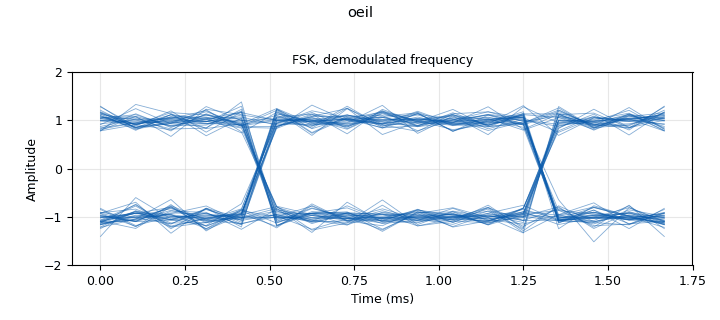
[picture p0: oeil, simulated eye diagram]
options:
  parameters:
    generate_options: qt_gui
    id: fg_tp13_002
    output_language: python
    title: FG-TP13-002
  states: {}

blocks:
- name: bit_rate
  id: variable
  parameters:
    value: '1200'
  states: {}
- name: ecart
  id: variable
  parameters:
    value: '1200'
  states: {}
- name: noise
  id: variable_qtgui_range
  parameters:
    gui_hint: 0,0,1,1
    label: '"Channel Noise"'
    start: '0'
    step: '0.01'
    stop: '0.5'
    value: '0.05'
  states: {}
- name: samp_rate
  id: variable
  parameters:
    value: bit_rate * sps
  states: {}
- name: sps
  id: variable
  parameters:
    value: '8'
  states: {}
- name: amplifier
  id: blocks_multiply_const_vxx
  parameters:
    const: '2'
    type: float
  states: {}
- name: bits
  id: analog_random_source_x
  parameters:
    max: '2'
    min: '0'
    num_samps: '1000'
    repeat: 'True'
    type: byte
  states: {}
- name: canal
  id: channels_channel_model
  parameters:
    epsilon: '1.0'
    freq_offset: '0'
    noise_voltage: noise
    seed: '0'
    taps: '[1.0 + 0.0j]'
  states: {}
- name: centrer
  id: blocks_add_const_vxx
  parameters:
    const: '-0.5'
    type: float
  states: {}
- name: debit_flux
  id: blocks_throttle2
  parameters:
    samples_per_second: samp_rate
    type: complex
  states: {}
- name: demoduler
  id: analog_quadrature_demod_cf
  parameters:
    gain: samp_rate/(2*math.pi*(ecart/2))
  states: {}
- name: en_flottant
  id: blocks_char_to_float
  parameters:
    scale: '1'
  states: {}
- name: etaler
  id: blocks_repeat
  parameters:
    interp: sps
    type: float
  states: {}
- name: importer_math
  id: import
  parameters:
    imports: import math
  states: {}
- name: moduler
  id: analog_frequency_modulator_fc
  parameters:
    sensitivity: 2*math.pi*(ecart/2)/samp_rate
  states: {}
- name: oeil
  id: qtgui_eye_sink_x
  parameters:
    grid: 'True'
    gui_hint: 1,0,1,1
    label1: '"FSK, demodulated frequency"'
    samp_per_symbol: sps
    size: '1024'
    srate: samp_rate
    type: float
    ymax: '2'
    ymin: '-2'
  states: {}

connections:
- [amplifier, '0', moduler, '0']
- [bits, '0', en_flottant, '0']
- [canal, '0', demoduler, '0']
- [centrer, '0', amplifier, '0']
- [debit_flux, '0', canal, '0']
- [demoduler, '0', oeil, '0']
- [en_flottant, '0', etaler, '0']
- [etaler, '0', centrer, '0']
- [moduler, '0', debit_flux, '0']

metadata:
  file_format: 1
  grc_version: 3.10.12.0
